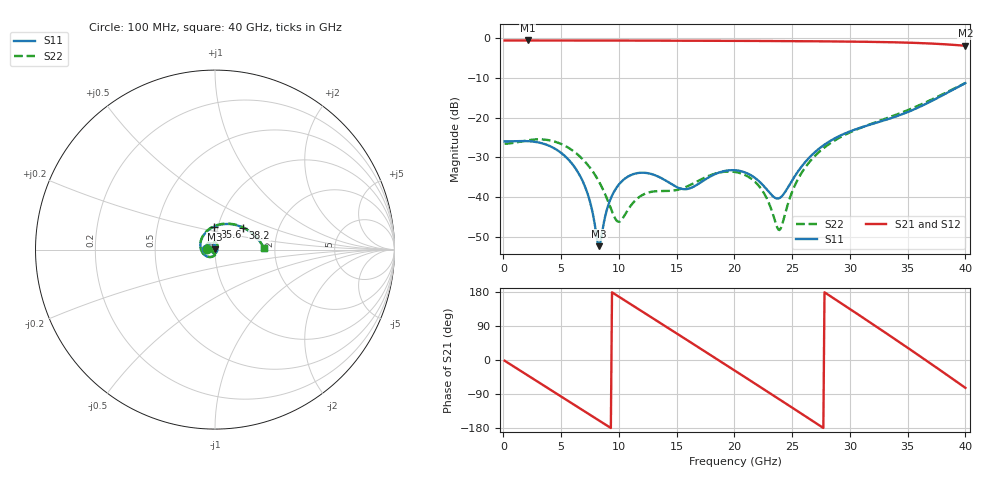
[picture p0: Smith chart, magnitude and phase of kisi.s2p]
! B_ts6_L1L6: ThunderScope stack: L1→B.Cu, no stub
! stackup: ThunderScope Rev5.3 6-layer (FR408HR / FR-4, from the board file)
! ports: 1, 2
! kisi-fdtd, conformal, dfine 0.0175 mm (the cell at metal ÷ 2), 1110795 cells
# Hz S RI R 50
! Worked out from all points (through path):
!   400 points, 100 MHz to 40 GHz, reference 50 ohm
!   highest |S21| = -0.51 dB at 2.1 GHz (marker M1); lowest = -1.9 dB at 40 GHz (marker M2)
!   group delay of S21, straight-line fit = 54.8 ps
!   lowest |S11| = -52.4 dB at 8.3 GHz (marker M3), VSWR 1.00, Z = 49.8 + j0.148 ohm
!   |S11| at or under -10 dB: start of sweep to end of sweep
!   |S22| runs from -48.3 to -11.2 dB; largest |S21 - S12| = 4.1e-06
!   S11 on the Smith chart (normalised r, x): 100 MHz: 0.90, +0.00; 35.6 GHz: 0.96, +0.25; 38.2 GHz: 1.32, +0.34; 40 GHz: 1.75, +0.03
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1e8  -0.0504 0.000821  0.9423 -0.0317  0.9423 -0.0317  -0.0471 0.000563
2.1e9  -0.0468 0.0195  0.7172 -0.612  0.7172 -0.612  -0.0488 0.0182
4.5e9  -0.0204 0.0349  0.0531 -0.9411  0.0531 -0.9411  -0.0224 0.0445
6.8e9  0.00208 0.0165  -0.62 -0.709  -0.62 -0.709  0.013 0.0278
8.3e9  -0.0019 0.00148  -0.8852 -0.3198  -0.8852 -0.3198  0.0143 0.00587
9.1e9  -0.00792 -0.00179  -0.938 -0.0722  -0.938 -0.0722  0.00836 -0.00183
1e10  -0.0145 -0.000597  -0.9161 0.2115  -0.9161 0.2115  -5.71e-05 -0.0049
1.17e10  -0.0174 0.0103  -0.6537 0.6743  -0.6537 0.6743  -0.0096 0.00236
1.34e10  -0.00549 0.0173  -0.1818 0.9203  -0.1818 0.9203  -0.00326 0.0115
1.52e10  0.00981 0.00857  0.3775 0.8574  0.3775 0.8574  0.0105 0.00678
1.72e10  0.0105 -0.0117  0.8308 0.4292  0.8308 0.4292  0.0126 -0.0115
2.01e10  -0.0109 -0.0189  0.8128 -0.4562  0.8128 -0.4562  -0.00926 -0.0185
2.22e10  -0.0129 -0.0086  0.3103 -0.8759  0.3103 -0.8759  -0.0121 -0.0057
2.39e10  -0.00423 -0.00877  -0.2235 -0.8992  -0.2235 -0.8992  -0.00151 -0.00354
2.52e10  -0.000225 -0.0181  -0.5897 -0.7116  -0.5897 -0.7116  0.0051 -0.0127
2.67e10  -0.00723 -0.0331  -0.8623 -0.3239  -0.8623 -0.3239  0.000251 -0.03
2.86e10  -0.0357 -0.0407  -0.8749 0.273  -0.8749 0.273  -0.0296 -0.0414
3.06e10  -0.0706 -0.0161  -0.488 0.7683  -0.488 0.7683  -0.0695 -0.0163
3.34e10  -0.0714 0.0659  0.374 0.8149  0.374 0.8149  -0.0692 0.0741
3.56e10  -0.00355 0.1284  0.8271 0.2973  0.8271 0.2973  0.0071 0.1356
3.82e10  0.1558 0.1227  0.6915 -0.4845  0.6915 -0.4845  0.1648 0.1194
4e10  0.2736 0.00776  0.2293 -0.7747  0.2293 -0.7747  0.2743 0.00634
